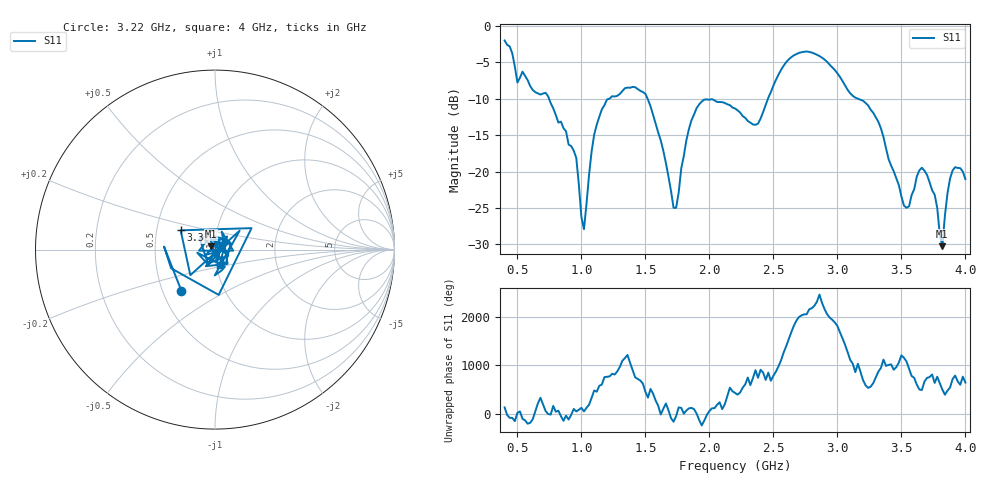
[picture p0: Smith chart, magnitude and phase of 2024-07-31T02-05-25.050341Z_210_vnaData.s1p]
!Created with skrf (http://scikit-rf.org).
# Hz S RI R 50.0
!freq ReS11 ImS11
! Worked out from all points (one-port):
!   181 points, 400 MHz to 4 GHz, reference 50 ohm
!   lowest |S11| = -30.3 dB at 3.82 GHz (marker M1), VSWR 1.06, Z = 47.6 + j1.74 ohm
!   |S11| at or under -10 dB: 747.2 MHz to 1.218 GHz (470.6 MHz wide, 47.9 % of centre); 1.517 GHz to 2.457 GHz (940.1 MHz wide, 47.3 % of centre); 3.161 GHz to end of sweep
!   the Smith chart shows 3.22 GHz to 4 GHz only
!   S11 on the Smith chart (normalised r, x): 3.22 GHz: 0.62, -0.31; 3.32 GHz: 0.67, +0.15; 4 GHz: 1.04, -0.18
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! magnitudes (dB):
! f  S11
! 400 MHz  -2.0
! 500 MHz  -7.8
! 720 MHz  -9.2
! 860 MHz  -14.0
! 960 MHz  -18.1
! 1.02 GHz  -27.9
! 1.08 GHz  -17.2
! 1.12 GHz  -13.6
! 1.3 GHz  -9.3
! 1.5 GHz  -9.3
! 1.62 GHz  -15.7
! 1.72 GHz  -25.0
! 1.76 GHz  -22.9
! 1.82 GHz  -15.7
! 1.9 GHz  -11.3
! 2.2 GHz  -11.3
! 2.38 GHz  -13.4
! 2.66 GHz  -4.0
! 2.88 GHz  -4.4
! 3.1 GHz  -9.2
! 3.22 GHz  -10.6
! 3.32 GHz  -13.2
! 3.56 GHz  -24.8
! 3.66 GHz  -19.5
! 3.76 GHz  -23.2
! 3.82 GHz  -30.3
! 3.9 GHz  -19.9
! 4 GHz  -21.0
